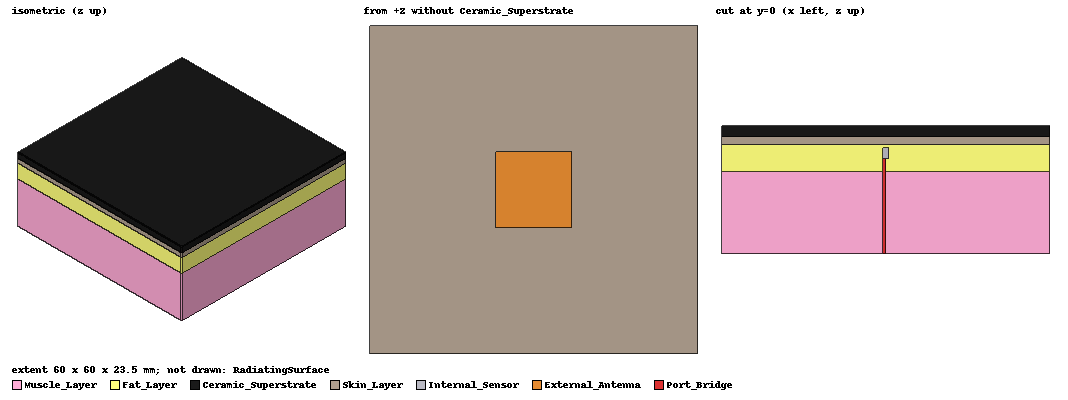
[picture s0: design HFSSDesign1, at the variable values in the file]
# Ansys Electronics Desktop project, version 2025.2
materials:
  vacuum: permittivity=1
  Custom_Muscle: permittivity=57 conductivity=0.8
  Custom_Fat: permittivity=5.5 conductivity=0.04
  Material1: permittivity=46 conductivity=0.7
  pec: conductivity=1e+30
  alumina_96pct: permittivity=9.4 dielectric_loss_tangent=0.006
  Teflon (tm): permittivity=2.1 dielectric_loss_tangent=0.001

design HFSSDesign1 (HFSS, HFSS Modal Network, model units mm)
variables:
  fat_thickness = 5mm
  muscle_thickness = 15mm
  skin_thickness = 1.5mm
  tissue_width = 60mm
  superstrate_thickness = 1mm
  patch_length = 14mm
  patch_width = 14mm
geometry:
  Muscle_Layer [Custom_Muscle] = box(corner=(-tissue_width / 2, -tissue_width / 2, 0mm), size=(tissue_width, tissue_width, muscle_thickness))
  Fat_Layer [Custom_Fat] = box(corner=(-tissue_width / 2, -tissue_width / 2, muscle_thickness), size=(tissue_width, tissue_width, fat_thickness))
  Skin_Layer [Material1] = box(corner=(-tissue_width / 2, -tissue_width / 2, muscle_thickness + fat_thickness), size=(tissue_width, tissue_width, skin_thickness))
  Internal_Sensor [pec] = cylinder(axis=Z, base_centre=(0mm, 0mm, 17.5mm), radius=0.5mm, height=2mm)
  External_Antenna = rectangle(corner=(-patch_length / 2, -patch_width / 2, muscle_thickness + fat_thickness + skin_thickness), x_size=patch_length, y_size=patch_width)
  RadiatingSurface [vacuum] = region(absolute_offset=248.13896mm on all sides)
  Ground_Plane = rectangle(corner=(-tissue_width / 2, -tissue_width / 2, 0mm), x_size=tissue_width, y_size=tissue_width)
  Port_Bridge = rectangle(corner=(0mm, 0mm, muscle_thickness + (fat_thickness / 2)), z_size=-(muscle_thickness + (fat_thickness / 2)), x_size=0.5mm)
  Ceramic_Superstrate [Teflon (tm)] = box(corner=(-30mm, -30mm, muscle_thickness + fat_thickness + skin_thickness), size=(60mm, 60mm, 2mm))
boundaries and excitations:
  PerfE1: Perfect E Objects=External_Antenna
  Open1: Radiation Objects=RadiatingSurface
  PerfE2: Perfect E Objects=Ground_Plane
  1: Lumped Port Objects=Port_Bridge LumpedPortType=Modal Modes{Mode1{IntLine{(0.25, 0, 0) -> (0.25, 0, 17.5)} CharImp=Zpi}} Impedance=50ohm
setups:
  Setup1: HfssDriven Frequency=600MHz MaxDeltaS=0.02 MaximumPasses=10 MinimumPasses=1 MinimumConvergedPasses=1 PercentRefinement=30 BasisOrder=1 PortAccuracy=2 DrivenSolverType="Direct Solver"
    sweep Sweep: 201.5MHz to 800MHz, 401 points; Type=Fast SaveFields
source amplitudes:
  1:1: 1W 0deg
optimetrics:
  ParametricSetup1: Parametric Sim._Setups=[Setup1]
    sweep fat_thickness: LIN 5mm 15mm 2.5mm
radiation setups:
  3D: Infinite Sphere Theta=0deg..180deg step 2deg Phi=-180deg..180deg step 2deg
  Elevation: Infinite Sphere Theta=-180deg..180deg step 1deg Phi=0deg..90deg step 90deg
  Azimuth: Infinite Sphere Theta=90deg..90deg step 0deg Phi=-180deg..180deg step 1deg
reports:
  S Parameter Plot1: dB(S(1,1)) vs Freq on Setup1 : Sweep [fat_thickness=all]
  Z Parameter Plot1: re(Z(1,1)), im(Z(1,1)) vs Freq on Setup1 : Sweep [fat_thickness=all]
  VSWR Plot1: VSWR(1) vs Freq on Setup1 : Sweep [fat_thickness=all]
  Gain Plot1: dB(GainTotal) vs Theta on Setup1 : LastAdaptive, 3D [Phi=0deg Freq=0.6GHz fat_thickness=all]
  Gain Plot2: dB(GainTotal) vs Phi, Theta on Setup1 : LastAdaptive, 3D [Freq=0.6GHz fat_thickness=5mm]
